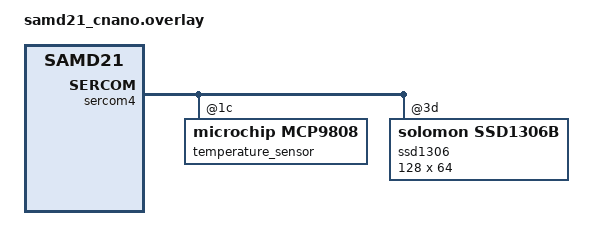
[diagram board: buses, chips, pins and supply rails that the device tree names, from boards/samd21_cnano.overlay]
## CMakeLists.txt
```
cmake_minimum_required(VERSION 3.28.0)

find_package(Zephyr)
project(temperature_sensor_app)

target_sources(app PRIVATE src/main.c)
```

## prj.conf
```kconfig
CONFIG_I2C=y
CONFIG_DISPLAY=y
CONFIG_CHARACTER_FRAMEBUFFER=y
CONFIG_STDOUT_CONSOLE=y

CONFIG_HEAP_MEM_POOL_SIZE=8192
```

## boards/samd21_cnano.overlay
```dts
/ {
	chosen {
		zephyr,display = &ssd1306;
	};

	aliases {
		temperature-sensor = &temperature_sensor;
	};
};

&sercom4 {
	temperature_sensor: temperature_sensor@1c {
		compatible = "microchip,mcp9808";
		reg = <0x1c>;
	};

	ssd1306: ssd1306@3d {
		compatible = "solomon,ssd1306b";
		reg = <0x3d>;
		segment-offset = <0>;
		page-offset = <0>;
		display-offset = <0>;
		multiplex-ratio = <63>;
		prechargep = <0x22>;
		height = <64>;
		width = <128>;
		segment-remap;
		com-invdir;
	};
};
```

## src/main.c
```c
#include <stdbool.h>
#include <stdint.h>
#include <stdio.h>
#include <zephyr/devicetree.h>
#include <zephyr/display/cfb.h>
#include <zephyr/drivers/i2c.h>
#include <zephyr/sleep.h>

#define TEMPERATURE_REGISTER_ADDRESS (0b0101)

bool read_temperature(const struct i2c_dt_spec *temperature_sensor, uint8_t *temperature)
{
	uint8_t i2c_write_buffer[1], i2c_read_buffer[2];

	i2c_write_buffer[0] = TEMPERATURE_REGISTER_ADDRESS;

	if (i2c_write_read_dt(temperature_sensor,
	                      i2c_write_buffer, sizeof(i2c_write_buffer),
	                      i2c_read_buffer, sizeof(i2c_read_buffer))) {
		return false;
	}

	uint8_t upper_byte = i2c_read_buffer[0];
	uint8_t lower_byte = i2c_read_buffer[1];

	bool is_signed = upper_byte & (1 << 5);

	*temperature = (upper_byte << 4) + (lower_byte >> 4);

	if (is_signed) {
		*temperature = 256 - *temperature;
	}

	return true;
}

int main(void)
{
	const struct device *display = DEVICE_DT_GET(DT_CHOSEN(zephyr_display));
	const struct i2c_dt_spec temperature_sensor = I2C_DT_SPEC_GET(DT_ALIAS(temperature_sensor));

	if (!device_is_ready(display)) {
		return 0;
	}

	if (cfb_framebuffer_init(display)) {
		return 0;
	}

	uint8_t font_width, font_height;

	if (cfb_get_font_size(display, 0, &font_width, &font_height)) {
		return 0;
	}

	if (!i2c_is_ready_dt(&temperature_sensor)) {
		return 0;
	}

	while (1) {
		if (cfb_framebuffer_clear(display, false)) {
			return 0;
		}

		if (cfb_draw_text(display, "Temperature:", 0, font_height * 0)) {
			return 0;
		}

		uint8_t temperature;

		if (!read_temperature(&temperature_sensor, &temperature)) {
			return 0;
		}

		char line[13];

		snprintf(line, sizeof(line), "%hhu C", temperature);

		if (cfb_draw_text(display, line, 0, font_height * 1)) {
			return 0;
		}

		if (cfb_framebuffer_finalize(display)) {
			return 0;
		}

		k_sleep(K_MSEC(1000));
	}
}
```
